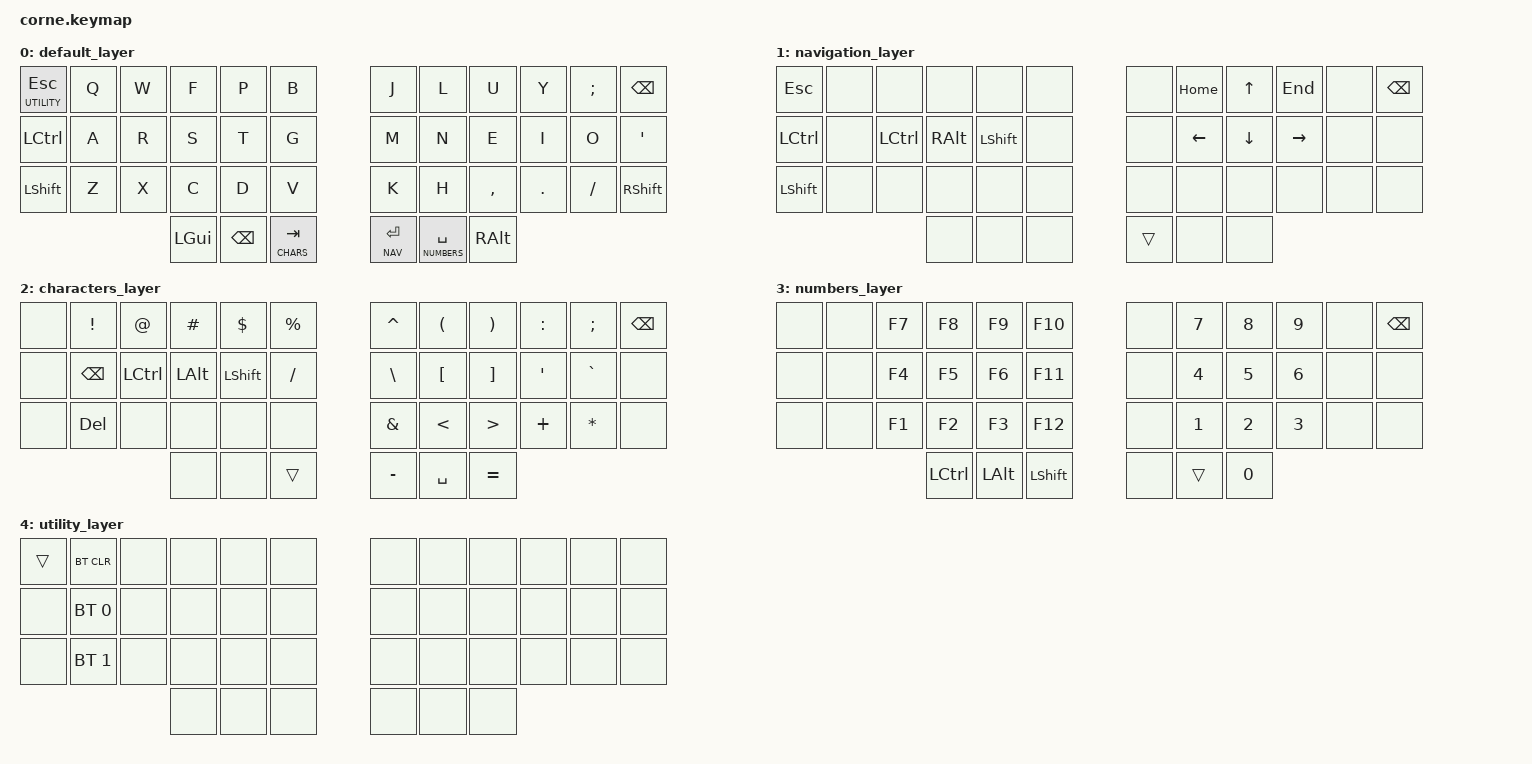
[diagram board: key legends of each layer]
/*
 * Copyright (c) 2020 The ZMK Contributors
 *
 * SPDX-License-Identifier: MIT
 */

#include <behaviors.dtsi>
#include <dt-bindings/zmk/keys.h>
#include <dt-bindings/zmk/bt.h>

#define DEFAULT 0
#define NAV     1
#define CHARS   2
#define NUMBERS 3
#define UTILITY 4

/ {
        keymap {
                compatible = "zmk,keymap";

                default_layer {
// -----------------------------------------------------------------------------------------
// |  ESC |  Q  |  W  |  F  |  P  |  B  |   |  J  |  L   |  U  |  Y  |  ;  | BKSP |
// | CTRL |  A  |  R  |  S  |  T  |  G  |   |  M  |  N   |  E  |  I  |  O  |  '   |
// | SHFT |  Z  |  X  |  C  |  D  |  V  |   |  K  |  H   |  ,  |  .  |  /  | SHFT |
//                    | GUI | BKSP| TAB |   | ENT | SPC  | ALT |
                        bindings = <
   &lt UTILITY ESC  &kp Q  &kp W  &kp F  &kp P  &kp B    &kp J  &kp L  &kp U       &kp Y    &kp SEMI  &kp BSPC
   &kp LCTRL        &kp A  &kp R  &kp S  &kp T  &kp G    &kp M  &kp N  &kp E       &kp I    &kp O     &kp SQT
   &kp LSHFT        &kp Z  &kp X  &kp C  &kp D  &kp V    &kp K  &kp H  &kp COMMA   &kp DOT  &kp FSLH  &kp RSHFT
   &kp LGUI  &kp BSPC  &lt CHARS TAB                     &lt NAV RET   &lt NUMBERS SPACE  &kp RALT
                        >;
                };


                navigation_layer {
// -----------------------------------------------------------------------------------------
// | ESC  |     |     |     |     |     |   |     | HOME| UP  | END |     | BKSP |
// | CTRL |     | CTRL| ALT | SHFT|     |   |     | LEFT| DOWN| RGHT|     |      |
// | SHFT |     |     |     |     |     |   |     |     |     |     |     |      |
//                    |     |     |     |   |TRANS|     |     |
                        bindings = <
   &kp ESC    &none  &none      &none     &none      &none     &none  &kp HOME  &kp UP    &kp END    &none  &kp BSPC
   &kp LCTRL  &none  &kp LCTRL  &kp RALT  &kp LSHFT  &none     &none  &kp LEFT  &kp DOWN  &kp RIGHT  &none  &none
   &kp LSHFT  &none  &none      &none     &none      &none     &none  &none     &none     &none      &none  &none
   &none  &none  &none                                         &trans  &none  &none
                        >;
                };


                characters_layer {
// -----------------------------------------------------------------------------------------
// |      |  !  |  @  |  #  |  $  |  %  |   |  ^  |  (  |  )  |  :  |  ;  | BKSP |
// |      | BKSP| CTRL| ALT | SHFT|  /  |   |  |  |  [  |  ]  |  '  |  `  |      |
// |      | DEL |     |     |     |     |   |  &  |  <  |  >  |  +  |  *  |      |
//                    |     |     |TRANS|   |  -  |SPACE|  =  |
                        bindings = <
   &none  &kp EXCL  &kp AT     &kp HASH  &kp DLLR   &kp PRCNT    &kp CARET  &kp LPAR  &kp RPAR  &kp COLON  &kp SEMI   &kp BSPC
   &none  &kp BSPC  &kp LCTRL  &kp LALT  &kp LSHFT  &kp FSLH     &kp BSLH   &kp LBKT  &kp RBKT  &kp APOS   &kp GRAVE  &none
   &none  &kp DEL   &none      &none     &none      &none        &kp AMPS   &kp LT    &kp GT    &kp PLUS   &kp STAR   &none
   &none  &none  &trans                                          &kp MINUS &kp SPACE  &kp EQUAL
                        >;
                };


                numbers_layer {
// -----------------------------------------------------------------------------------------
// |      |     |  F9 |  F10|  F11| F12 |   |     |  7  |  8  |  9  |     | BKSP |
// |      |     |  F5 |  F6 |  F7 | F8  |   |     |  4  |  5  |  6  |     |      |
// |      |     |  F1 |  F2 |  F3 | F4  |   |     |  1  |  2  |  3  |     |      |
//                    | CTRL| ALT | SHFT|   |     |TRANS|  0  |
                        bindings = <
   &none  &none  &kp F7  &kp F8  &kp F9  &kp F10    &none  &kp N7  &kp N8  &kp N9  &none  &kp BSPC
   &none  &none  &kp F4  &kp F5  &kp F6  &kp F11    &none  &kp N4  &kp N5  &kp N6  &none  &none
   &none  &none  &kp F1  &kp F2  &kp F3  &kp F12    &none  &kp N1  &kp N2  &kp N3  &none  &none
   &kp LCTRL  &kp LALT  &kp LSHFT                   &none  &trans  &kp N0
                        >;
                };


                utility_layer {
// -----------------------------------------------------------------------------------------
// | TRANS|BTCLR|     |     |     |     |   |     |     |     |     |     |      |
// |      | BT1 |     |     |     |     |   |     |     |     |     |     |      |
// |      | BT2 |     |     |     |     |   |     |     |     |     |     |      |
//                    |     |     |     |   |     |     |     |
                        bindings = <
   &trans &bt BT_CLR    &none  &none  &none  &none    &none  &none  &none  &none  &none  &none
   &none  &bt BT_SEL 0  &none  &none  &none  &none    &none  &none  &none  &none  &none  &none
   &none  &bt BT_SEL 1  &none  &none  &none  &none    &none  &none  &none  &none  &none  &none
   &none  &none  &none                                &none  &none  &none
                        >;
                };
        };
};
